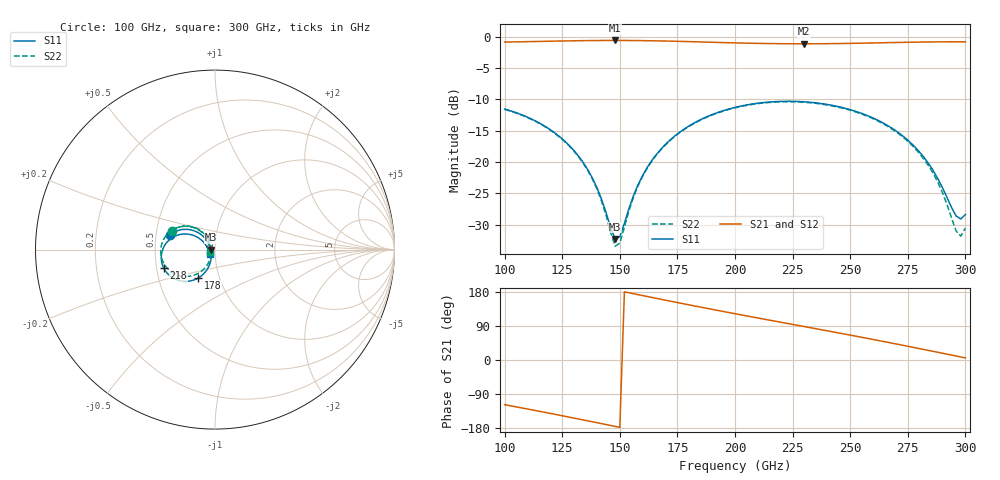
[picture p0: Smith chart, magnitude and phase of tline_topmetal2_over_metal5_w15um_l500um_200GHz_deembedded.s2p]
! Created with skrf 2.0.1 (http://scikit-rf.org).
# GHz S DB R 50.0
!freq dBS11 angS11 dBS21 angS21 dBS12 angS12 dBS22 angS22
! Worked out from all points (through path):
!   101 points, 100 GHz to 300 GHz, reference 50 ohm
!   highest |S21| = -0.61 dB at 148 GHz (marker M1); lowest = -1.1 dB at 230 GHz (marker M2)
!   group delay of S21, straight-line fit = 3.27 ps
!   lowest |S11| = -32.3 dB at 148 GHz (marker M3), VSWR 1.05, Z = 47.6 - j0.00688 ohm
!   |S11| at or under -10 dB: start of sweep to end of sweep
!   |S22| runs from -33.4 to -10.4 dB; largest |S21 - S12| = 1.6e-13
!   S11 on the Smith chart (normalised r, x): 100 GHz: 0.59, +0.11; 178 GHz: 0.79, -0.26; 218 GHz: 0.55, -0.12; 300 GHz: 0.94, -0.04
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100  -11.55 161.8  -0.86 -117.9  -0.86 -117.9  -11.60 156.2
120  -14.89 141.9  -0.73 -141.2  -0.73 -141.2  -14.96 134.9
134  -20.01 132.0  -0.64 -158.0  -0.64 -158.0  -20.13 123.5
140  -24.02 133.4  -0.62 -165.4  -0.62 -165.4  -24.23 123.8
148  -32.26 -179.8  -0.61 -175.2  -0.61 -175.2  -33.41 171.4
150  -31.91 -150.9  -0.61 -177.7  -0.61 -177.7  -32.93 -155.7
154  -27.39 -119.3  -0.62 177.3  -0.62 177.3  -27.74 -123.8
158  -23.56 -111.1  -0.63 172.4  -0.63 172.4  -23.72 -116.9
168  -17.88 -112.4  -0.69 160.1  -0.69 160.1  -17.96 -119.9
178  -14.72 -120.5  -0.78 148.0  -0.78 148.0  -14.79 -129.0
200  -11.29 -142.1  -1.00 122.2  -1.00 122.2  -11.35 -152.2
218  -10.36 -160.2  -1.12 101.7  -1.12 101.7  -10.42 -171.5
230  -10.39 -172.1  -1.14 88.3  -1.14 88.3  -10.47 175.7
234  -10.52 -176.0  -1.14 83.8  -1.14 83.8  -10.59 171.5
252  -11.87 166.5  -1.06 63.4  -1.06 63.4  -11.96 152.5
268  -14.57 152.2  -0.95 44.6  -0.95 44.6  -14.71 136.4
276  -16.84 146.6  -0.90 35.0  -0.90 35.0  -17.03 129.5
284  -20.23 144.6  -0.85 25.3  -0.85 25.3  -20.59 125.3
290  -24.05 150.7  -0.84 17.9  -0.84 17.9  -24.83 128.7
296  -28.60 -179.1  -0.83 10.5  -0.83 10.5  -31.01 160.5
298  -29.08 -160.3  -0.83 8.0  -0.83 8.0  -31.81 -173.7
300  -28.38 -142.0  -0.83 5.6  -0.83 5.6  -30.54 -149.6
